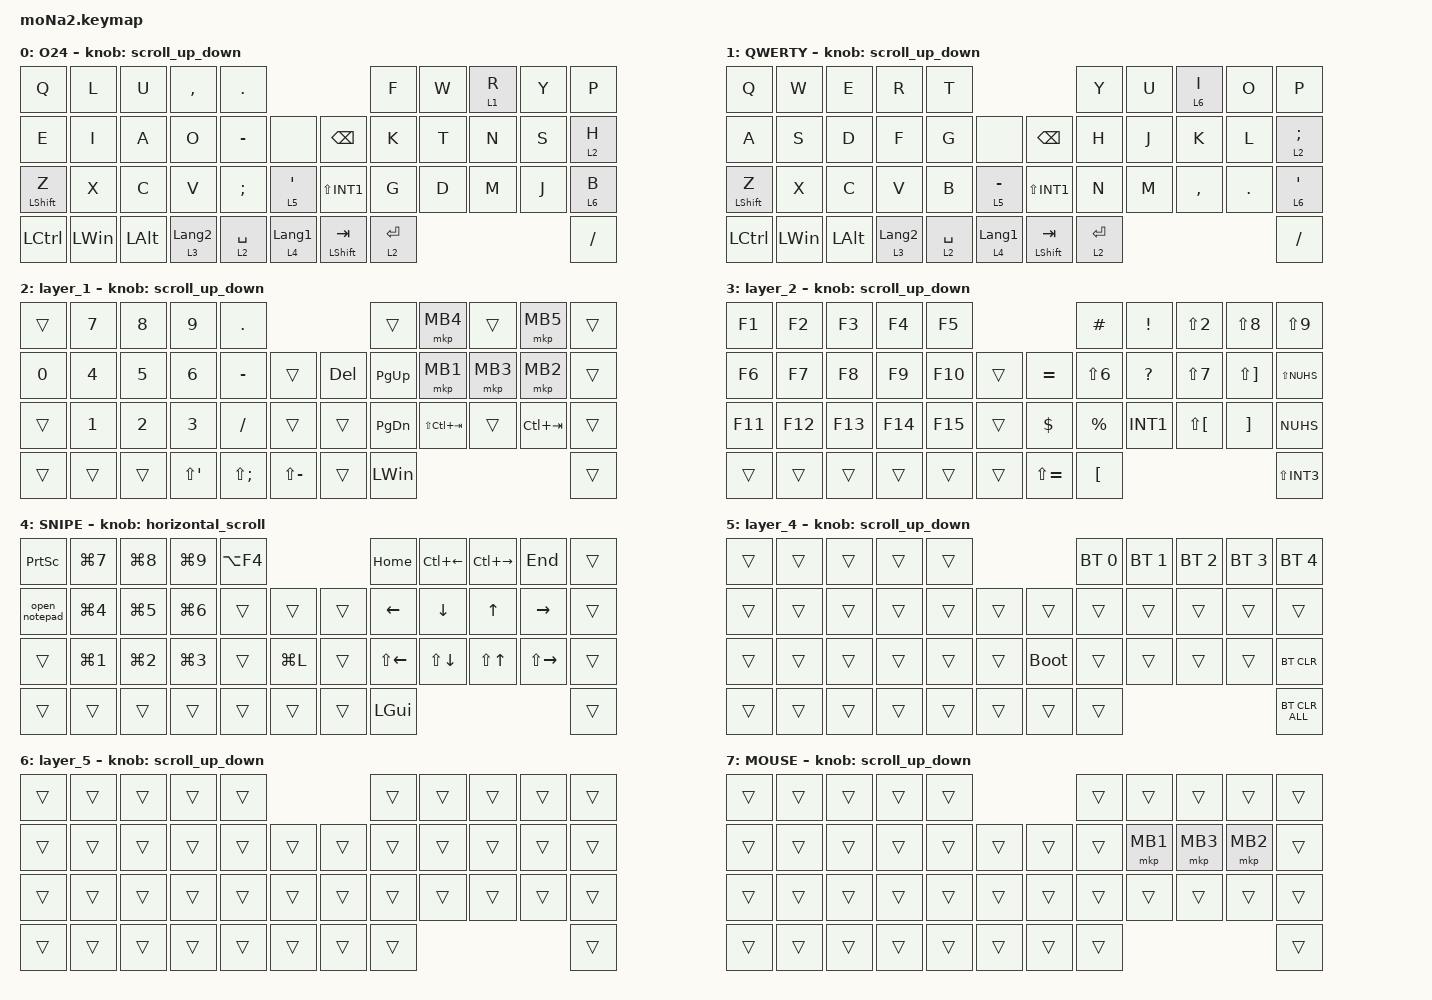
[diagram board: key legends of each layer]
#include <behaviors.dtsi>
#include <dt-bindings/zmk/bt.h>
#include <dt-bindings/zmk/keys.h>
#include <dt-bindings/zmk/pointing.h>

#define ZMK_POINTING_DEFAULT_SCRL_VAL 100
#define SNIPE 3

&mt {
    flavor = "balanced";
    quick-tap-ms = <0>;
};

/ {
    combos {
        compatible = "zmk,combos";

        shift_tab {
            bindings = <&kp LS(TAB)>;
            key-positions = <19 18>;
            layers = <1 2>;
        };

        tab {
            bindings = <&kp TAB>;
            key-positions = <19 20>;
            layers = <1 2>;
        };

        tab2 {
            bindings = <&kp TAB>;
            key-positions = <10 11>;
            layers = <1 0>;
        };

        esc {
            bindings = <&kp ESCAPE>;
            key-positions = <0 1>;
            layers = <1 0>;
        };

        altf4 {
            bindings = <&kp LA(F4)>;
            key-positions = <3 36>;
            layers = <1 0>;
        };

        toO24 {
            bindings = <&to 0>;
            key-positions = <8 9>;
            layers = <1>;
        };

        toDef {
            bindings = <&to 1>;
            key-positions = <8 9>;
            layers = <0>;
        };

        CtrlShift {
            bindings = <&kp LS(RCTRL)>;
            key-positions = <34 22>;
            layers = <0 1>;
        };
    };

    macros {
        to_layer_0: to_layer_0 {
            compatible = "zmk,behavior-macro-one-param";
            #binding-cells = <1>;
            bindings = <&to 1 &macro_param_1to1 &kp MACRO_PLACEHOLDER>;
            label = "TO_LAYER_0";
        };

        send_times: new_macro {
            compatible = "zmk,behavior-macro";
            #binding-cells = <0>;
            bindings = <&kt LEFT_ALT &kp KP_NUMBER_0 &kp KP_NUMBER_2 &kp KP_NUMBER_1 &kp KP_NUMBER_5 &kt LEFT_ALT>;
            label = "NEW_MACRO";
        };

        open_notepad: open_notepad {
            compatible = "zmk,behavior-macro";
            #binding-cells = <0>;
            bindings =
                <&kp LG(R)>,
                <&macro_wait_time 10>,
                <&kp N &kp O &kp T &kp E &kp P &kp A &kp D &kp ENTER>;

            label = "OPEN_NOTEPAD";
        };
    };

    behaviors {
        lt_to_layer_0: lt_to_layer_0 {
            compatible = "zmk,behavior-hold-tap";
            label = "LAYER_TAP_TO_0";
            bindings = <&mo>, <&to_layer_0>;

            #binding-cells = <2>;
            tapping-term-ms = <200>;
        };

        scroll_up_down: scroll_up_down {
            compatible = "zmk,behavior-sensor-rotate";
            #sensor-binding-cells = <0>;
            bindings = <&msc SCRL_DOWN>, <&msc SCRL_UP>;

            tap-ms = <20>;
            label = "scroll_up_down";
        };

        horizontal_scroll: horizontal_scroll {
            compatible = "zmk,behavior-sensor-rotate";
            label = "HORIZONTAL_SCROLL";
            #sensor-binding-cells = <0>;
            bindings = <&msc SCRL_LEFT>, <&msc SCRL_RIGHT>;

            tap-ms = <20>;
        };
    };

    keymap {
        compatible = "zmk,keymap";

        O24 {
            bindings = <
&kp Q             &kp L         &kp U         &kp COMMA         &kp DOT                                                &kp F        &kp W  &lt 1 R  &kp Y  &kp P
&kp E             &kp I         &kp A         &kp O             &kp MINUS    &none                 &kp BACKSPACE       &kp K        &kp T  &kp N    &kp S  &lt 2 H
&mt LEFT_SHIFT Z  &kp X         &kp C         &kp V             &kp SEMI     &lt 5 SINGLE_QUOTE    &kp LS(INT1)        &kp G        &kp D  &kp M    &kp J  &lt 6 B
&kp LCTRL         &kp LEFT_WIN  &kp LEFT_ALT  &lt 3 LANGUAGE_2  &lt 2 SPACE  &lt 4 LANGUAGE_1      &mt LEFT_SHIFT TAB  &lt 2 ENTER                         &kp SLASH
            >;

            sensor-bindings = <&scroll_up_down>;
        };

        QWERTY {
            bindings = <
&kp Q             &kp W         &kp E         &kp R             &kp T                                                &kp Y        &kp U  &lt 6 I    &kp O    &kp P
&kp A             &kp S         &kp D         &kp F             &kp G        &none               &kp BACKSPACE       &kp H        &kp J  &kp K      &kp L    &lt 2 SEMI
&mt LEFT_SHIFT Z  &kp X         &kp C         &kp V             &kp B        &lt 5 MINUS         &kp LS(INT1)        &kp N        &kp M  &kp COMMA  &kp DOT  &lt 6 SINGLE_QUOTE
&kp LCTRL         &kp LEFT_WIN  &kp LEFT_ALT  &lt 3 LANGUAGE_2  &lt 2 SPACE  &lt 4 LANGUAGE_1    &mt LEFT_SHIFT TAB  &lt 2 ENTER                             &kp SLASH
            >;

            sensor-bindings = <&scroll_up_down>;
        };

        layer_1 {
            bindings = <
&trans  &kp N7        &kp N8        &kp N9                &kp PERIOD                                 &trans         &mkp MB4         &trans    &mkp MB5     &trans
&kp N0  &kp NUMBER_4  &kp N5        &kp NUMBER_6          &kp MINUS     &trans           &kp DELETE  &kp PAGE_UP    &mkp MB1         &mkp MB3  &mkp MB2     &trans
&trans  &kp NUMBER_1  &kp NUMBER_2  &kp NUMBER_3          &kp SLASH     &trans           &trans      &kp PAGE_DOWN  &kp LS(LC(TAB))  &trans    &kp LC(TAB)  &trans
&trans  &trans        &trans        &kp LS(SINGLE_QUOTE)  &kp LS(SEMI)  &kp LS(MINUS)    &trans      &kp LEFT_WIN                                           &trans
            >;

            sensor-bindings = <&scroll_up_down>;
        };

        layer_2 {
            bindings = <
&kp F1   &kp F2   &kp F3   &kp F4   &kp F5                            &kp HASH          &kp EXCL   &kp LS(NUMBER_2)      &kp LS(NUMBER_8)       &kp LS(N9)
&kp F6   &kp F7   &kp F8   &kp F9   &kp F10  &trans    &kp EQUAL      &kp LS(NUMBER_6)  &kp QMARK  &kp LS(N7)            &kp LS(RIGHT_BRACKET)  &kp LS(NUHS)
&kp F11  &kp F12  &kp F13  &kp F14  &kp F15  &trans    &kp DOLLAR     &kp PERCENT       &kp INT1   &kp LS(LEFT_BRACKET)  &kp RIGHT_BRACKET      &kp NUHS
&trans   &trans   &trans   &trans   &trans   &trans    &kp LS(EQUAL)  &kp LEFT_BRACKET                                                          &kp LS(INT3)
            >;

            sensor-bindings = <&scroll_up_down>;
        };

        SNIPE {
            bindings = <
&kp PRINTSCREEN  &kp LG(N7)        &kp LG(N8)        &kp LG(N9)        &kp LA(F4)                       &kp HOME      &kp LC(LEFT)  &kp LC(RIGHT)     &kp END        &trans
&open_notepad    &kp LG(NUMBER_4)  &kp LG(N5)        &kp LG(NUMBER_6)  &trans      &trans       &trans  &kp LEFT      &kp DOWN      &kp UP_ARROW      &kp RIGHT      &trans
&trans           &kp LG(N1)        &kp LG(NUMBER_2)  &kp LG(NUMBER_3)  &trans      &kp LG(L)    &trans  &kp LS(LEFT)  &kp LS(DOWN)  &kp LS(UP_ARROW)  &kp LS(RIGHT)  &trans
&trans           &trans            &trans            &trans            &trans      &trans       &trans  &kp LEFT_GUI                                                 &trans
            >;

            sensor-bindings = <&horizontal_scroll>;
        };

        layer_4 {
            bindings = <
&trans  &trans  &trans  &trans  &trans                         &bt BT_SEL 0  &bt BT_SEL 1  &bt BT_SEL 2  &bt BT_SEL 3  &bt BT_SEL 4
&trans  &trans  &trans  &trans  &trans  &trans    &trans       &trans        &trans        &trans        &trans        &trans
&trans  &trans  &trans  &trans  &trans  &trans    &bootloader  &trans        &trans        &trans        &trans        &bt BT_CLR
&trans  &trans  &trans  &trans  &trans  &trans    &trans       &trans                                                  &bt BT_CLR_ALL
            >;

            sensor-bindings = <&scroll_up_down>;
        };

        layer_5 {
            bindings = <
&trans  &trans  &trans  &trans  &trans                    &trans  &trans  &trans  &trans  &trans
&trans  &trans  &trans  &trans  &trans  &trans    &trans  &trans  &trans  &trans  &trans  &trans
&trans  &trans  &trans  &trans  &trans  &trans    &trans  &trans  &trans  &trans  &trans  &trans
&trans  &trans  &trans  &trans  &trans  &trans    &trans  &trans                          &trans
            >;

            sensor-bindings = <&scroll_up_down>;
        };

        MOUSE {
            bindings = <
&trans  &trans  &trans  &trans  &trans                    &trans  &trans    &trans    &trans    &trans
&trans  &trans  &trans  &trans  &trans  &trans    &trans  &trans  &mkp MB1  &mkp MB3  &mkp MB2  &trans
&trans  &trans  &trans  &trans  &trans  &trans    &trans  &trans  &trans    &trans    &trans    &trans
&trans  &trans  &trans  &trans  &trans  &trans    &trans  &trans                                &trans
            >;

            sensor-bindings = <&scroll_up_down>;
        };
    };
};
